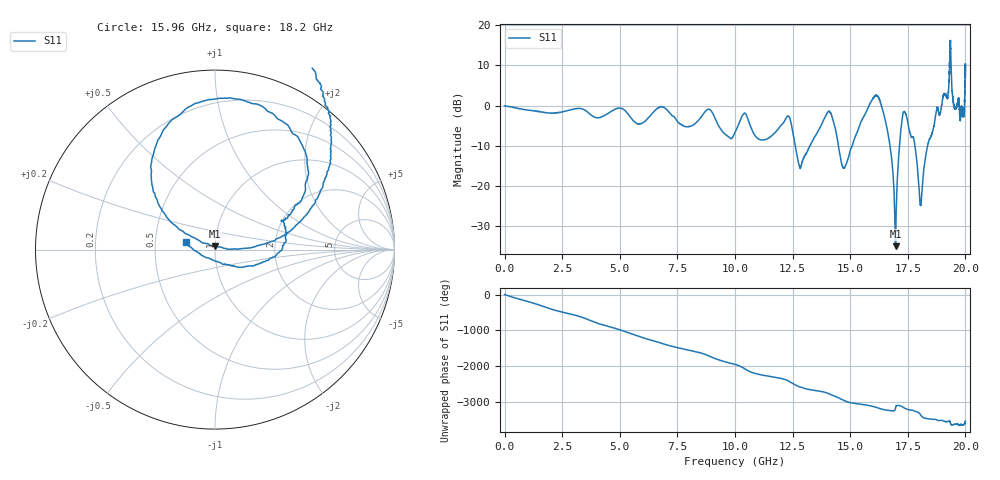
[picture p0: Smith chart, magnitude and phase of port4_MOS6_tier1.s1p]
! Created with skrf 1.8.0 (http://scikit-rf.org).
# GHz S RI R 50.0
!freq ReS11 ImS11
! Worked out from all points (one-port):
!   10000 points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, 3 MHz to 20 GHz, reference 50 ohm
!   lowest |S11| = -34.9 dB at 16.97 GHz (marker M1), VSWR 1.04, Z = 50.1 + j1.79 ohm
!   |S11| at or under -10 dB: 12.62 GHz to 13.25 GHz (635.3 MHz wide, 4.91 % of centre); 14.49 GHz to 15.09 GHz (597.1 MHz wide, 4.04 % of centre); 17.81 GHz to 18.35 GHz (547 MHz wide, 3.03 % of centre) (the widest 3 of 4)
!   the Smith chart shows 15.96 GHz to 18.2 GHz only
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0.0029999  0.9953 -0.0111
0.840958  -0.8669 -0.2344
1.366932  -0.1013 0.852
1.786911  0.8152 0.0691
2.502875  -0.537 -0.6429
3.280836  -0.2167 0.8959
3.676816  0.7901 0.1255
4.160792  -0.2144 -0.6833
5.00275  -0.1404 0.9233
5.760712  0.1729 -0.5733
6.776661  0.00259 0.9606
7.502625  0.4868 -0.4118
8.860557  -0.0311 0.9022
10.0025  -0.3725 -0.2782
10.41848  -0.065 0.8047
11.11244  0.1006 -0.362
12.13039  -0.6043 0.1803
12.50237  0.3443 0.335
15.00225  -0.1731 -0.2124
16.14219  -0.0956 1.337
16.96815  0.0014 0.0178
17.50212  0.5027 0.3572
18.0561  -0.0238 -0.0536
18.67607  -0.3821 0.539
19.25204  0.5601 1.257
19.45803  1.095 -0.5767
19.79801  0.6953 -0.2214
20  0.932 3.168
